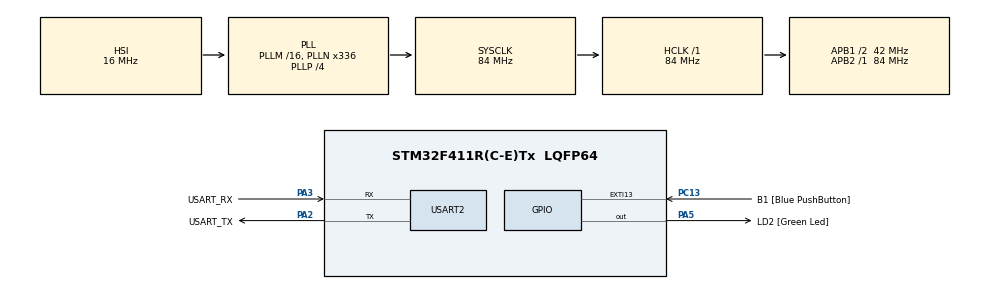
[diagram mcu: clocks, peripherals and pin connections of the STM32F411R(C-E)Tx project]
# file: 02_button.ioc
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Mcu.Family=STM32F4
Mcu.Name=STM32F411R(C-E)Tx
Mcu.Package=LQFP64
NVIC.PriorityGroup=NVIC_PRIORITYGROUP_0
PA13.GPIO_Label=TMS
PA13.Mode=Serial_Wire
PA13.Signal=SYS_JTMS-SWDIO
PA14.GPIO_Label=TCK
PA14.Mode=Serial_Wire
PA14.Signal=SYS_JTCK-SWCLK
PA2.GPIO_Label=USART_TX
PA2.Mode=Asynchronous
PA2.Signal=USART2_TX
PA3.GPIO_Label=USART_RX
PA3.Mode=Asynchronous
PA3.Signal=USART2_RX
PA5.GPIO_Label=LD2 [Green Led]
PA5.Signal=GPIO_Output
PB3.GPIO_Label=SWO
PB3.Signal=SYS_JTDO-SWO
PC13-ANTI_TAMP.GPIO_Label=B1 [Blue PushButton]
PC13-ANTI_TAMP.GPIO_ModeDefaultEXTI=GPIO_MODE_IT_FALLING
PC13-ANTI_TAMP.Signal=GPXTI13
PC14-OSC32_IN.Mode=LSE-External-Oscillator
PC14-OSC32_IN.Signal=RCC_OSC32_IN
PC15-OSC32_OUT.Mode=LSE-External-Oscillator
PC15-OSC32_OUT.Signal=RCC_OSC32_OUT
PH0\ -\ OSC_IN.Mode=HSE-External-Clock-Source
PH0\ -\ OSC_IN.Signal=RCC_OSC_IN
PH1\ -\ OSC_OUT.Mode=HSE-External-Clock-Source
PH1\ -\ OSC_OUT.Signal=RCC_OSC_OUT
ProjectManager.HeapSize=0x200
ProjectManager.StackSize=0x400
ProjectManager.TargetToolchain=STM32CubeIDE
RCC.48MHZClocksFreq_Value=84000000
RCC.AHBFreq_Value=84000000
RCC.APB1CLKDivider=RCC_HCLK_DIV2
RCC.APB1Freq_Value=42000000
RCC.APB1TimFreq_Value=84000000
RCC.APB2Freq_Value=84000000
RCC.APB2TimFreq_Value=84000000
RCC.CortexFreq_Value=84000000
RCC.FLatency-AdvancedSettings=FLASH_LATENCY_2
RCC.HCLKFreq_Value=84000000
RCC.HSE_VALUE=8000000
RCC.HSI_VALUE=16000000
RCC.PLLN=336
RCC.PLLP=RCC_PLLP_DIV4
RCC.SYSCLKFreq_VALUE=84000000
RCC.SYSCLKSource=RCC_SYSCLKSOURCE_PLLCLK
RCC.VCOOutputFreq_Value=336000000
USART2.VirtualMode=VM_ASYNC
board=NUCLEO-F411RE

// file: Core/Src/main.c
/* USER CODE BEGIN Header */
/**
  ******************************************************************************
  * @file           : main.c
  * @brief          : Main program body
  ******************************************************************************
  * @attention
  *
  * Copyright (c) 2026 STMicroelectronics.
  * All rights reserved.
  *
  * This software is licensed under terms that can be found in the LICENSE file
  * in the root directory of this software component.
  * If no LICENSE file comes with this software, it is provided AS-IS.
  *
  ******************************************************************************
  */
/* USER CODE END Header */
#include "main.h"

UART_HandleTypeDef huart2;

/* USER CODE BEGIN PV */
volatile uint8_t was_pressed = 0;

/* USER CODE END PV */

void SystemClock_Config(void);
static void MX_GPIO_Init(void);
static void MX_USART2_UART_Init(void);

int main(void)
{

  /* MCU Configuration--------------------------------------------------------*/

  /* Reset of all peripherals, Initializes the Flash interface and the Systick. */
  HAL_Init();

  /* Configure the system clock */
  SystemClock_Config();

  /* Initialize all configured peripherals */
  MX_GPIO_Init();
  MX_USART2_UART_Init();
  /* USER CODE BEGIN 2 */
  volatile uint8_t reg = 0b10010001;

  reg |= (1 << 2);
  reg = 0b10010001;
  reg &= ~(1 << 4);
  reg = 0b10010001;
  reg ^= (1 << 0);
  reg = 0b10010001;
  reg |= (1 << 1) | (1 << 3);
  /* USER CODE END 2 */

  /* Infinite loop */
  while (1)
  {

    /* USER CODE BEGIN 3 */
	    GPIO_PinState btn = HAL_GPIO_ReadPin(B1_GPIO_Port, B1_Pin);

	    if (!was_pressed && btn == GPIO_PIN_RESET)   // только что нажали
	    {
	      was_pressed = 1;
	      HAL_GPIO_TogglePin(LD2_GPIO_Port, LD2_Pin);
	    }

	    if (was_pressed && btn == GPIO_PIN_SET)      // только что отпустили
	    {
	      was_pressed = 0;
	    }
  }
  /* USER CODE END 3 */
}

void SystemClock_Config(void)
{
  RCC_OscInitTypeDef RCC_OscInitStruct = {0};
  RCC_ClkInitTypeDef RCC_ClkInitStruct = {0};

  /** Configure the main internal regulator output voltage
  */
  __HAL_RCC_PWR_CLK_ENABLE();
  __HAL_PWR_VOLTAGESCALING_CONFIG(PWR_REGULATOR_VOLTAGE_SCALE1);

  /** Initializes the RCC Oscillators according to the specified parameters
  * in the RCC_OscInitTypeDef structure.
  */
  RCC_OscInitStruct.OscillatorType = RCC_OSCILLATORTYPE_HSI;
  RCC_OscInitStruct.HSIState = RCC_HSI_ON;
  RCC_OscInitStruct.HSICalibrationValue = RCC_HSICALIBRATION_DEFAULT;
  RCC_OscInitStruct.PLL.PLLState = RCC_PLL_ON;
  RCC_OscInitStruct.PLL.PLLSource = RCC_PLLSOURCE_HSI;
  RCC_OscInitStruct.PLL.PLLM = 16;
  RCC_OscInitStruct.PLL.PLLN = 336;
  RCC_OscInitStruct.PLL.PLLP = RCC_PLLP_DIV4;
  RCC_OscInitStruct.PLL.PLLQ = 4;
  if (HAL_RCC_OscConfig(&RCC_OscInitStruct) != HAL_OK)
  {
    Error_Handler();
  }

  /** Initializes the CPU, AHB and APB buses clocks
  */
  RCC_ClkInitStruct.ClockType = RCC_CLOCKTYPE_HCLK|RCC_CLOCKTYPE_SYSCLK
                              |RCC_CLOCKTYPE_PCLK1|RCC_CLOCKTYPE_PCLK2;
  RCC_ClkInitStruct.SYSCLKSource = RCC_SYSCLKSOURCE_PLLCLK;
  RCC_ClkInitStruct.AHBCLKDivider = RCC_SYSCLK_DIV1;
  RCC_ClkInitStruct.APB1CLKDivider = RCC_HCLK_DIV2;
  RCC_ClkInitStruct.APB2CLKDivider = RCC_HCLK_DIV1;

  if (HAL_RCC_ClockConfig(&RCC_ClkInitStruct, FLASH_LATENCY_2) != HAL_OK)
  {
    Error_Handler();
  }
}

static void MX_USART2_UART_Init(void)
{

  huart2.Instance = USART2;
  huart2.Init.BaudRate = 115200;
  huart2.Init.WordLength = UART_WORDLENGTH_8B;
  huart2.Init.StopBits = UART_STOPBITS_1;
  huart2.Init.Parity = UART_PARITY_NONE;
  huart2.Init.Mode = UART_MODE_TX_RX;
  huart2.Init.HwFlowCtl = UART_HWCONTROL_NONE;
  huart2.Init.OverSampling = UART_OVERSAMPLING_16;
  if (HAL_UART_Init(&huart2) != HAL_OK)
  {
    Error_Handler();
  }

}

static void MX_GPIO_Init(void)
{
  GPIO_InitTypeDef GPIO_InitStruct = {0};

  /* GPIO Ports Clock Enable */
  __HAL_RCC_GPIOC_CLK_ENABLE();
  __HAL_RCC_GPIOH_CLK_ENABLE();
  __HAL_RCC_GPIOA_CLK_ENABLE();
  __HAL_RCC_GPIOB_CLK_ENABLE();

  /*Configure GPIO pin Output Level */
  HAL_GPIO_WritePin(LD2_GPIO_Port, LD2_Pin, GPIO_PIN_RESET);

  /*Configure GPIO pin : B1_Pin */
  GPIO_InitStruct.Pin = B1_Pin;
  GPIO_InitStruct.Mode = GPIO_MODE_IT_FALLING;
  GPIO_InitStruct.Pull = GPIO_NOPULL;
  HAL_GPIO_Init(B1_GPIO_Port, &GPIO_InitStruct);

  /*Configure GPIO pin : LD2_Pin */
  GPIO_InitStruct.Pin = LD2_Pin;
  GPIO_InitStruct.Mode = GPIO_MODE_OUTPUT_PP;
  GPIO_InitStruct.Pull = GPIO_NOPULL;
  GPIO_InitStruct.Speed = GPIO_SPEED_FREQ_LOW;
  HAL_GPIO_Init(LD2_GPIO_Port, &GPIO_InitStruct);

}

void Error_Handler(void)
{
  __disable_irq();
  while (1)
  {
  }
}
